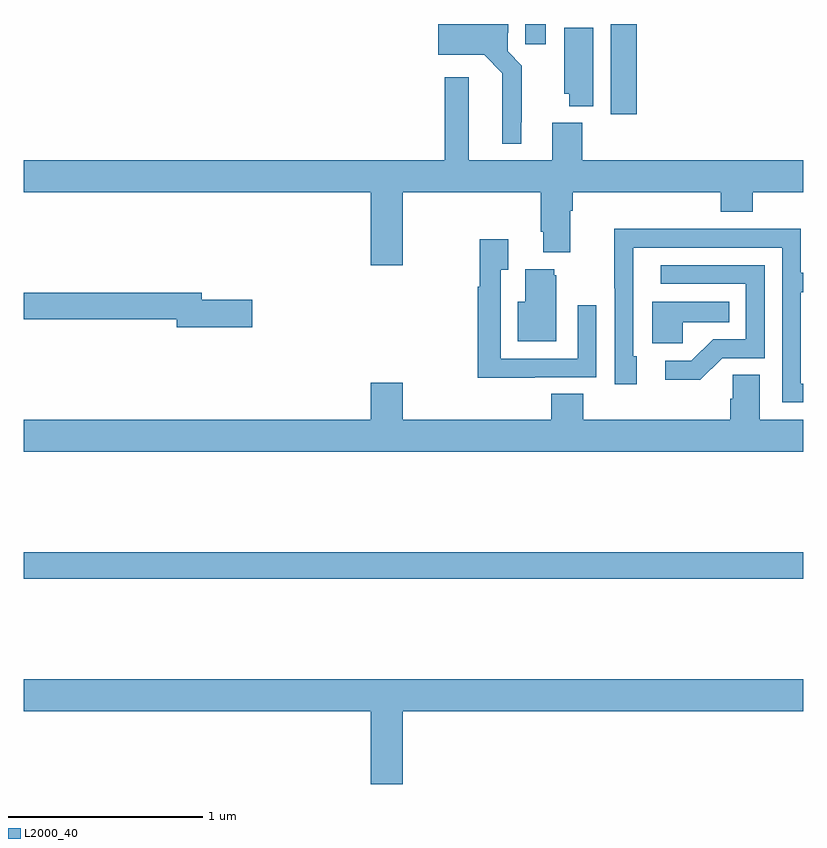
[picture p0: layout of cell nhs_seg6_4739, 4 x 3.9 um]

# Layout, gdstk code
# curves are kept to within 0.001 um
import gdstk
lib = gdstk.Library(unit=1e-6, precision=1e-09)
def R(c, l, rs):  # rectangles x0, y0, x1, y1
    for r in rs: c.add(gdstk.rectangle(r[:2], r[2:], *l))
def P(c, l, *ps):  # polygons
    for p in ps: c.add(gdstk.Polygon(p, *l))
L2000_40 = (2000, 40)

nhs_seg6_4739 = lib.new_cell('nhs_seg6_4739')
R(nhs_seg6_4739, L2000_40, [(391,978.652,395,978.788), (394.013,981.036,394.145,981.5), (393.575,981.396,393.679,981.5)])
P(nhs_seg6_4739, L2000_40, [(393.553,980.995),(393.557,980.995),(393.557,981.286),(393.483,981.36),(393.483,981.454),(393.487,981.454),(393.487,981.5),(393.126,981.499),(393.126,981.341),(393.363,981.341),(393.456,981.248),(393.455,980.885),(393.553,980.885)],
  [(393.922,981.482),(393.773,981.482),(393.773,981.141),(393.8,981.141),(393.8,981.077),(393.922,981.077)],
  [(392.944,980.636),(393.653,980.636),(393.653,980.434),(393.665,980.434),(393.665,980.327),(393.805,980.327),(393.805,980.54),(393.818,980.54),(393.818,980.636),(394.577,980.636),(394.577,980.537),(394.742,980.537),(394.742,980.636),(395,980.636),(395,980.8),(393.866,980.8),(393.866,980.992),(393.713,980.992),(393.713,980.8),(393.283,980.8),(393.283,981.226),(393.161,981.226),(393.161,980.8),(391,980.8),(391,980.636),(392.78,980.636),(392.78,980.262),(392.944,980.262)],
  [(395,979.653),(394.989,979.653),(394.989,980.122),(395,980.122),(395,980.223),(394.989,980.223),(394.989,980.448),(394.493,980.448),(394.493,980.45),(394.03,980.45),(394.03,980.143),(394.032,980.143),(394.032,979.65),(394.147,979.65),(394.147,979.794),(394.128,979.794),(394.128,980.098),(394.129,980.098),(394.129,980.352),(394.893,980.352),(394.893,979.557),(395,979.557)],
  [(393.623,979.686),(393.939,979.686),(393.939,980.056),(393.843,980.056),(393.843,979.782),(393.447,979.782),(393.447,980.239),(393.487,980.239),(393.487,980.395),(393.339,980.395),(393.339,980.15),(393.331,980.15),(393.331,979.685),(393.623,979.685)],
  [(394.584,979.785),(394.803,979.785),(394.803,980.262),(394.269,980.262),(394.269,980.166),(394.707,980.166),(394.707,979.881),(394.538,979.881),(394.427,979.77),(394.293,979.77),(394.293,979.673),(394.471,979.673)],
  [(393.733,980.211),(393.722,980.211),(393.722,980.242),(393.575,980.242),(393.575,980.074),(393.536,980.074),(393.536,979.871),(393.733,979.871)],
  [(392.173,980.084),(391.912,980.084),(391.912,980.12),(391,980.12),(391,979.984),(391.784,979.984),(391.784,979.942),(392.173,979.942)],
  [(394.383,979.97),(394.622,979.97),(394.622,980.074),(394.226,980.074),(394.226,979.862),(394.383,979.862)],
  [(395,979.468),(394.777,979.468),(394.777,979.7),(394.638,979.7),(394.638,979.577),(394.625,979.577),(394.625,979.468),(393.872,979.468),(393.872,979.601),(393.707,979.601),(393.707,979.468),(392.944,979.468),(392.944,979.657),(392.78,979.657),(392.78,979.468),(391,979.468),(391,979.304),(395,979.304)],
  [(392.944,977.972),(395,977.972),(395,978.136),(391,978.136),(391,977.972),(392.78,977.972),(392.78,977.598),(392.944,977.598)])

lib.write_gds('nhs_seg6_4739.gds')
